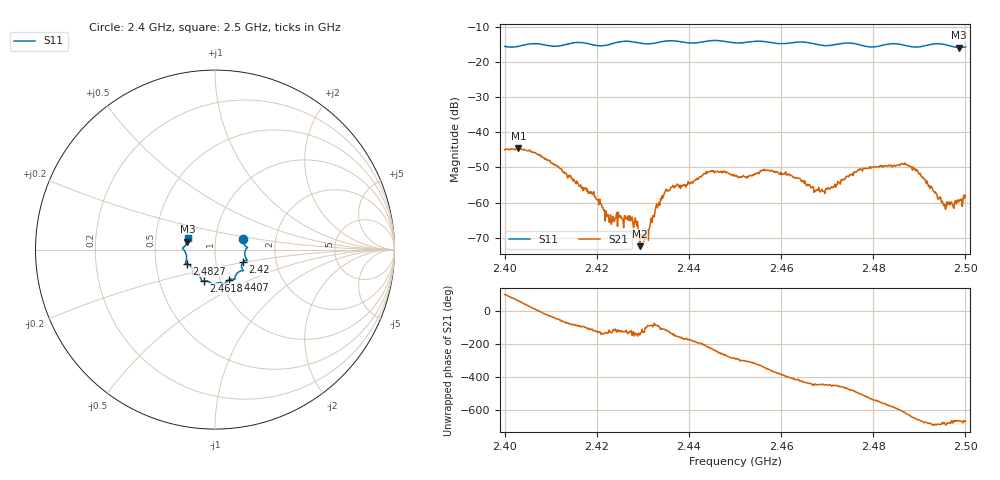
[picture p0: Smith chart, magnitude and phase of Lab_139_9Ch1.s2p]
# Hz S RI R 50
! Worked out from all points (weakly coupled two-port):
!   601 points, 2.4 GHz to 2.5 GHz, reference 50 ohm
!   highest |S21| = -44.60 dB at 2.403 GHz (marker M1); lowest = -72.4 dB at 2.4293 GHz (marker M2)
!   lowest |S11| = -15.9 dB at 2.4987 GHz (marker M3), VSWR 1.38, Z = 36.5 + j3.25 ohm
!   |S11| at or under -10 dB: start of sweep to end of sweep
!   S12 and S22 are empty: the file has one direction only
!   S11 on the Smith chart (normalised r, x): 2.4 GHz: 1.35, +0.17; 2.42 GHz: 1.36, -0.19; 2.4407 GHz: 1.10, -0.38; 2.4618 GHz: 0.83, -0.30; 2.4827 GHz: 0.72, -0.12; 2.5 GHz: 0.73, +0.09
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2.4e9  0.1544 0.0614  -0.000642 0.00559  0 0  0 0
2.403e9  0.1647 0.0251  0.00309 0.00501  0 0  0 0
2.416667e9  0.1789 -0.0587  -0.000168 -0.00159  0 0  0 0
2.42e9  0.1564 -0.0688  -0.000607 -0.000913  0 0  0 0
2.422833e9  0.1482 -0.0979  -0.000339 -0.000401  0 0  0 0
2.427167e9  0.1566 -0.1169  -0.000379 -0.000525  0 0  0 0
2.429333e9  0.1409 -0.12  -0.000202 -0.000129  0 0  0 0
2.430667e9  0.1272 -0.1281  -8.3e-05 -0.000279  0 0  0 0
2.433333e9  0.1117 -0.1528  -9.02e-05 -0.000919  0 0  0 0
2.4365e9  0.1108 -0.1662  -0.00146 -0.000966  0 0  0 0
2.440667e9  0.0791 -0.1676  -0.00198 7.05e-05  0 0  0 0
2.444833e9  0.0541 -0.1935  -0.00182 0.00219  0 0  0 0
2.45e9  0.027 -0.1847  0.000934 0.00223  0 0  0 0
2.461833e9  -0.0616 -0.1747  0.00176 -0.00165  0 0  0 0
2.466667e9  -0.0757 -0.1682  0.000137 -0.00164  0 0  0 0
2.469e9  -0.0863 -0.1484  0.00013 -0.00145  0 0  0 0
2.482667e9  -0.1581 -0.0778  -0.00309 0.00127  0 0  0 0
2.483333e9  -0.1621 -0.0768  -0.00287 0.00184  0 0  0 0
2.489167e9  -0.159 -0.0326  0.00112 0.00278  0 0  0 0
2.495333e9  -0.1773 0.0112  0.000643 0.00063  0 0  0 0
2.498667e9  -0.1541 0.0433  0.000636 0.000815  0 0  0 0
2.5e9  -0.151 0.0631  0.00083 0.000972  0 0  0 0
